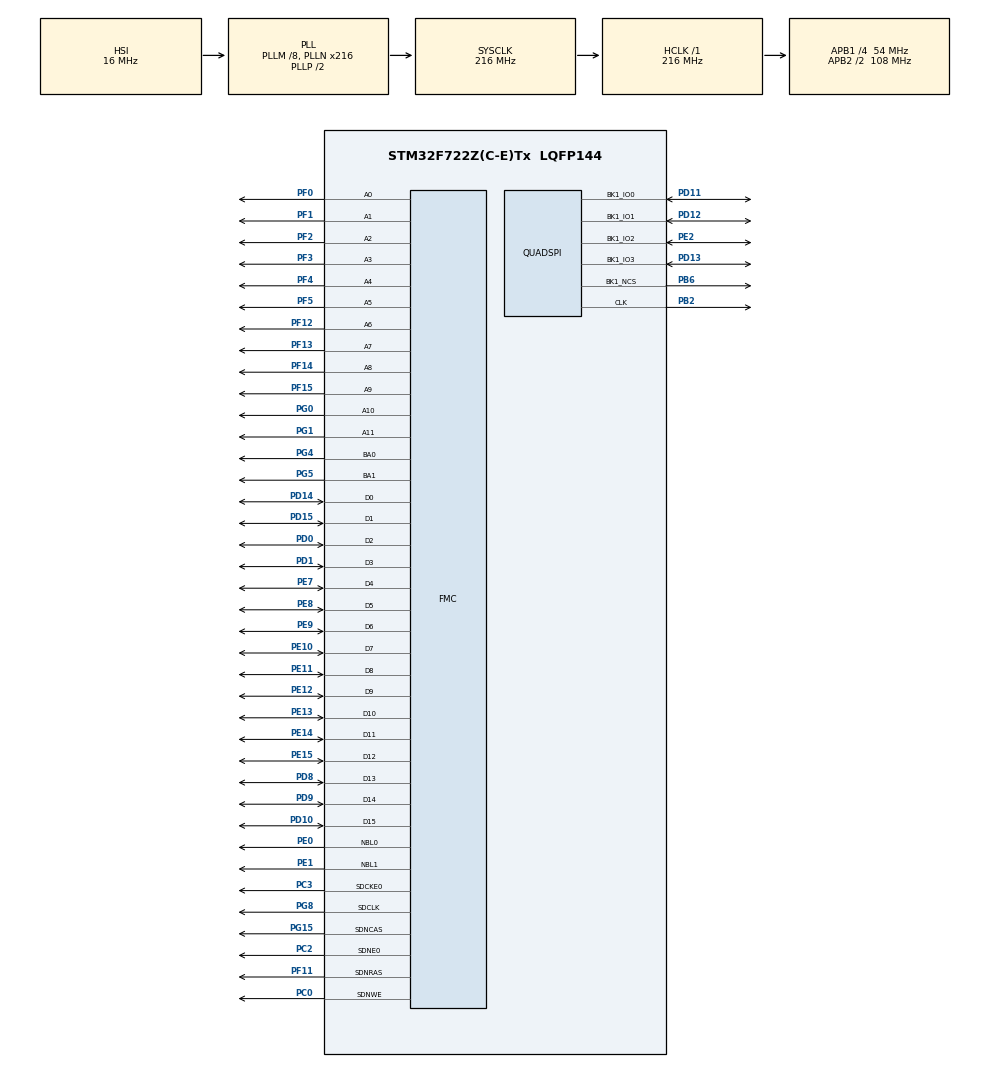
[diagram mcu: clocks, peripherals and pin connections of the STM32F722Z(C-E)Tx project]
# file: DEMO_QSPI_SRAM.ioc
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CORTEX_M7.ART_ACCLERATOR_ENABLE=0
CORTEX_M7.CPU_DCache=Disabled
CORTEX_M7.CPU_ICache=Disabled
CORTEX_M7.FlashInterface=AXI_Enabled
CORTEX_M7.MPU_Control=__NULL
CORTEX_M7.PREFETCH_ENABLE=0
FMC.CASLatency1=FMC_SDRAM_CAS_LATENCY_3
FMC.ExitSelfRefreshDelay1=9
FMC.InternalBankNumber1=FMC_SDRAM_INTERN_BANKS_NUM_4
FMC.LoadToActiveDelay1=2
FMC.RCDDelay1=2
FMC.RPDelay1=2
FMC.ReadPipeDelay1=FMC_SDRAM_RPIPE_DELAY_1
FMC.RowCycleDelay1=9
FMC.SDClockPeriod1=FMC_SDRAM_CLOCK_PERIOD_3
FMC.SDCoherentPinout1=MEMORY_PINOUT_OK
FMC.SDMemoryDataWidth1=FMC_SDRAM_MEM_BUS_WIDTH_16
FMC.SDRAM_Instance=FMC_SDRAM_DEVICE
FMC.SelfRefreshTime1=5
FMC.WriteRecoveryTime1=5
Mcu.Family=STM32F7
Mcu.Name=STM32F722Z(C-E)Tx
Mcu.Package=LQFP144
NVIC.PriorityGroup=NVIC_PRIORITYGROUP_4
NVIC.QUADSPI_IRQn=true\:15\:0\:true\:false\:true
PB2.Mode=Single Bank 1
PB2.Signal=QUADSPI_CLK
PB6.Mode=Single Bank 1
PB6.Signal=QUADSPI_BK1_NCS
PC0.Signal=FMC_SDNWE
PC2.Mode=SdramChipSelect1_1
PC2.Signal=FMC_SDNE0
PC3.Mode=SdramChipSelect1_1
PC3.Signal=FMC_SDCKE0
PD0.Signal=FMC_D2_DA2
PD1.Signal=FMC_D3_DA3
PD10.Signal=FMC_D15_DA15
PD11.Mode=Single Bank 1
PD11.Signal=QUADSPI_BK1_IO0
PD12.Mode=Single Bank 1
PD12.Signal=QUADSPI_BK1_IO1
PD13.Mode=Single Bank 1
PD13.Signal=QUADSPI_BK1_IO3
PD14.Signal=FMC_D0_DA0
PD15.Signal=FMC_D1_DA1
PD8.Signal=FMC_D13_DA13
PD9.Signal=FMC_D14_DA14
PE0.Signal=FMC_NBL0
PE1.Signal=FMC_NBL1
PE10.Signal=FMC_D7_DA7
PE11.Signal=FMC_D8_DA8
PE12.Signal=FMC_D9_DA9
PE13.Signal=FMC_D10_DA10
PE14.Signal=FMC_D11_DA11
PE15.Signal=FMC_D12_DA12
PE2.Mode=Single Bank 1
PE2.Signal=QUADSPI_BK1_IO2
PE7.Signal=FMC_D4_DA4
PE8.Signal=FMC_D5_DA5
PE9.Signal=FMC_D6_DA6
PF0.Signal=FMC_A0
PF1.Signal=FMC_A1
PF11.Signal=FMC_SDNRAS
PF12.Signal=FMC_A6
PF13.Signal=FMC_A7
PF14.Signal=FMC_A8
PF15.Signal=FMC_A9
PF2.Signal=FMC_A2
PF3.Signal=FMC_A3
PF4.Signal=FMC_A4
PF5.Signal=FMC_A5
PG0.Signal=FMC_A10
PG1.Signal=FMC_A11
PG15.Signal=FMC_SDNCAS
PG4.Signal=FMC_A14_BA0
PG5.Signal=FMC_A15_BA1
PG8.Signal=FMC_SDCLK
ProjectManager.HeapSize=0x200
ProjectManager.StackSize=0x400
ProjectManager.TargetToolchain=EWARM
QUADSPI.ChipSelectHighTime=QSPI_CS_HIGH_TIME_2_CYCLE
QUADSPI.ClockPrescaler=2
QUADSPI.FifoThreshold=4
QUADSPI.FlashSize=23
QUADSPI.SampleShifting=QSPI_SAMPLE_SHIFTING_HALFCYCLE
RCC.AHBCLKDivider=RCC_SYSCLK_DIV1
RCC.AHBFreq_Value=216000000
RCC.APB1CLKDivider=RCC_HCLK_DIV4
RCC.APB1Freq_Value=54000000
RCC.APB1TimFreq_Value=108000000
RCC.APB2CLKDivider=RCC_HCLK_DIV2
RCC.APB2Freq_Value=108000000
RCC.APB2TimFreq_Value=216000000
RCC.ClockTypeHCLK=RCC_CLOCKTYPE_HCLK
RCC.ClockTypePCLK1=RCC_CLOCKTYPE_PCLK1
RCC.ClockTypePCLK2=RCC_CLOCKTYPE_PCLK2
RCC.ClockTypeSysClk=RCC_CLOCKTYPE_SYSCLK
RCC.CortexFreq_Value=216000000
RCC.Cortex_Div=SYSTICK_CLKSOURCE_HCLK
RCC.EnableHSE=false
RCC.EnableHSERTCDevisor=false
RCC.EnableLSE=false
RCC.EnableLSERTC=false
RCC.EnbaleCSS=false
RCC.ExtClockEnable=false
RCC.FLatency=FLASH_LATENCY_7
RCC.HCLKFreq_Value=216000000
RCC.HSEState=RCC_HSE_OFF
RCC.HSE_VALUE=25000000
RCC.HSIState=RCC_HSI_ON
RCC.HSI_VALUE=16000000
RCC.I2C1Enable=false
RCC.I2C2Enable=false
RCC.I2C3Enable=false
RCC.I2SEnable=false
RCC.LPTIM1Enable=false
RCC.LSE_VALUE=32768
RCC.LSIState=RCC_LSI_OFF
RCC.MCO1OutPutEnable=false
RCC.MCO2I2SEnable=false
RCC.MCO2OutPutEnable=false
RCC.OscillatorTypeHSI=RCC_OSCILLATORTYPE_HSI
RCC.PLLM=8
RCC.PLLN=216
RCC.PLLP=RCC_PLLP_DIV2
RCC.PLLSAIP=RCC_PLLSAIP_DIV2
RCC.PLLState=RCC_PLL_ON
RCC.PWREXT_OverDrive=PWREXT_OverDrive_ACTIVATED
RCC.PWR_Regulator_Voltage_Scale=PWR_REGULATOR_VOLTAGE_SCALE1
RCC.RCC_MCODiv1=RCC_MCODIV_1
RCC.RCC_MCODiv2=RCC_MCODIV_1
RCC.RCC_RTC_Clock_Source_FROM_HSE=RCC_RTCCLKSOURCE_HSE_DIV2
RCC.RCC_TIM_PRescaler_Selection=RCC_TIMPRES_DESACTIVATED
RCC.RTCEnable=false
RCC.SAI1Enable=false
RCC.SAI2Enable=false
RCC.SDMMCEnable=false
RCC.SYSCLKFreq_VALUE=216000000
RCC.SYSCLKSource=RCC_SYSCLKSOURCE_PLLCLK
RCC.UART4Enable=false
RCC.UART5Enable=false
RCC.UART7Enable=false
RCC.UART8Enable=false
RCC.USART1Enable=false
RCC.USART2Enable=false
RCC.USART3Enable=false
RCC.USART6Enable=false
RCC.USBEnable=false
RCC.USBFreq_Value=216000000
RCC.VCOOutputFreq_Value=432000000
SH.FMC_A0.0=FMC_A0,12b-sda1
SH.FMC_A1.0=FMC_A1,12b-sda1
SH.FMC_A10.0=FMC_A10,12b-sda1
SH.FMC_A11.0=FMC_A11,12b-sda1
SH.FMC_A14_BA0.0=FMC_BA0,FourSdramBanks1
SH.FMC_A15_BA1.0=FMC_BA1,FourSdramBanks1
SH.FMC_A2.0=FMC_A2,12b-sda1
SH.FMC_A3.0=FMC_A3,12b-sda1
SH.FMC_A4.0=FMC_A4,12b-sda1
SH.FMC_A5.0=FMC_A5,12b-sda1
SH.FMC_A6.0=FMC_A6,12b-sda1
SH.FMC_A7.0=FMC_A7,12b-sda1
SH.FMC_A8.0=FMC_A8,12b-sda1
SH.FMC_A9.0=FMC_A9,12b-sda1
SH.FMC_D0_DA0.0=FMC_D0,sd-16b-d1
SH.FMC_D10_DA10.0=FMC_D10,sd-16b-d1
SH.FMC_D11_DA11.0=FMC_D11,sd-16b-d1
SH.FMC_D12_DA12.0=FMC_D12,sd-16b-d1
SH.FMC_D13_DA13.0=FMC_D13,sd-16b-d1
SH.FMC_D14_DA14.0=FMC_D14,sd-16b-d1
SH.FMC_D15_DA15.0=FMC_D15,sd-16b-d1
SH.FMC_D1_DA1.0=FMC_D1,sd-16b-d1
SH.FMC_D2_DA2.0=FMC_D2,sd-16b-d1
SH.FMC_D3_DA3.0=FMC_D3,sd-16b-d1
SH.FMC_D4_DA4.0=FMC_D4,sd-16b-d1
SH.FMC_D5_DA5.0=FMC_D5,sd-16b-d1
SH.FMC_D6_DA6.0=FMC_D6,sd-16b-d1
SH.FMC_D7_DA7.0=FMC_D7,sd-16b-d1
SH.FMC_D8_DA8.0=FMC_D8,sd-16b-d1
SH.FMC_D9_DA9.0=FMC_D9,sd-16b-d1
SH.FMC_NBL0.0=FMC_NBL0,Sd2ByteEnable1
SH.FMC_NBL1.0=FMC_NBL1,Sd2ByteEnable1
SH.FMC_SDCLK.0=FMC_SDCLK,12b-sda1
SH.FMC_SDNCAS.0=FMC_SDNCAS,12b-sda1
SH.FMC_SDNRAS.0=FMC_SDNRAS,12b-sda1
SH.FMC_SDNWE.0=FMC_SDNWE,12b-sda1
board=DEMO_QSPI_SRAM

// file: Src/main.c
/**
  ******************************************************************************
  * File Name          : main.c
  * Description        : Main program body
  ******************************************************************************
  *
  * COPYRIGHT(c) 2017 STMicroelectronics
  *
  * Redistribution and use in source and binary forms, with or without modification,
  * are permitted provided that the following conditions are met:
  *   1. Redistributions of source code must retain the above copyright notice,
  *      this list of conditions and the following disclaimer.
  *   2. Redistributions in binary form must reproduce the above copyright notice,
  *      this list of conditions and the following disclaimer in the documentation
  *      and/or other materials provided with the distribution.
  *   3. Neither the name of STMicroelectronics nor the names of its contributors
  *      may be used to endorse or promote products derived from this software
  *      without specific prior written permission.
  *
  * THIS SOFTWARE IS PROVIDED BY THE COPYRIGHT HOLDERS AND CONTRIBUTORS "AS IS"
  * AND ANY EXPRESS OR IMPLIED WARRANTIES, INCLUDING, BUT NOT LIMITED TO, THE
  * IMPLIED WARRANTIES OF MERCHANTABILITY AND FITNESS FOR A PARTICULAR PURPOSE ARE
  * DISCLAIMED. IN NO EVENT SHALL THE COPYRIGHT HOLDER OR CONTRIBUTORS BE LIABLE
  * FOR ANY DIRECT, INDIRECT, INCIDENTAL, SPECIAL, EXEMPLARY, OR CONSEQUENTIAL
  * DAMAGES (INCLUDING, BUT NOT LIMITED TO, PROCUREMENT OF SUBSTITUTE GOODS OR
  * SERVICES; LOSS OF USE, DATA, OR PROFITS; OR BUSINESS INTERRUPTION) HOWEVER
  * CAUSED AND ON ANY THEORY OF LIABILITY, WHETHER IN CONTRACT, STRICT LIABILITY,
  * OR TORT (INCLUDING NEGLIGENCE OR OTHERWISE) ARISING IN ANY WAY OUT OF THE USE
  * OF THIS SOFTWARE, EVEN IF ADVISED OF THE POSSIBILITY OF SUCH DAMAGE.
  *
  ******************************************************************************
  */
#include "main.h"
#include "stm32f7xx_hal.h"
#include "quadspi.h"
#include "gpio.h"
#include "fmc.h"

/* USER CODE BEGIN Includes */
#define USE_QSPI
#ifdef USE_QSPI
#include "n25q128a.h"
#endif /* USE_QSPI */

#define USE_SDRAM
#ifdef USE_SDRAM
#include "is42s16400j.h"
//#define USE_DMA_SDRAM
#endif /* USE_SDRAM */
/* USER CODE END Includes */

/* USER CODE BEGIN PV */
/* Private variables ---------------------------------------------------------*/
#ifdef USE_QSPI
__IO uint8_t CmdCplt, RxCplt, TxCplt, StatusMatch, TimeOut;
/* Buffer used for transmission */
uint8_t aTxBuffer_Qspi[] = " ****QSPI communication based on IT****  ****QSPI communication based on IT****  ****QSPI communication based on IT****  ****QSPI communication based on IT****  ****QSPI communication based on IT****  ****QSPI communication based on IT**** ";
/* Buffer used for reception */
uint8_t aRxBuffer_Qspi[BUFFERSIZE];
#endif /* USE_QSPI */

#ifdef USE_SDRAM
#define BUFFER_SIZE         ((uint32_t)0x0100)
#define WRITE_READ_ADDR     ((uint32_t)0x0800)

FMC_SDRAM_CommandTypeDef command;

/* Read/Write Buffers */
uint32_t aTxBuffer_Sdram[BUFFER_SIZE];
uint32_t aRxBuffer_Sdram[BUFFER_SIZE];

/* Status variables */
__IO uint32_t uwWriteReadStatus = 0;
uint32_t uwIndex = 0;
#endif /* USE_SDRAM */
/* USER CODE END PV */

void SystemClock_Config(void);
void Error_Handler(void);

/* USER CODE BEGIN PFP */
/* Private function prototypes -----------------------------------------------*/

/* USER CODE END PFP */

int main(void)
{

  /* USER CODE BEGIN 1 */
#ifdef USE_QSPI
  QSPI_CommandTypeDef sCommand;
  uint32_t address = 0;
  uint16_t index;
  __IO uint8_t step = 0;
#endif /* USE_QSPI */

   /* Enable I-Cache */
  SCB_EnableICache();

  /* Enable D-Cache */
  SCB_EnableDCache();
  /* USER CODE END 1 */

  /* MCU Configuration----------------------------------------------------------*/

  /* Reset of all peripherals, Initializes the Flash interface and the Systick. */
  HAL_Init();

  /* Configure the system clock */
  SystemClock_Config();

  /* Initialize all configured peripherals */
  MX_GPIO_Init();
  MX_FMC_Init();
  MX_QUADSPI_Init();

  /* USER CODE BEGIN 2 */
#ifdef USE_QSPI
  sCommand.InstructionMode   = QSPI_INSTRUCTION_1_LINE;
  sCommand.AddressSize       = QSPI_ADDRESS_24_BITS;
  sCommand.AlternateByteMode = QSPI_ALTERNATE_BYTES_NONE;
  sCommand.DdrMode           = QSPI_DDR_MODE_DISABLE;
  sCommand.DdrHoldHalfCycle  = QSPI_DDR_HHC_ANALOG_DELAY;
  sCommand.SIOOMode          = QSPI_SIOO_INST_EVERY_CMD;
#endif /* USE_QSPI */
#ifdef USE_SDRAM
  /*##-1- Configure the SDRAM device #########################################*/
 /* Program the SDRAM external device */
  SDRAM_Initialization_Sequence(&hsdram1, &command);
/*##-2- SDRAM memory read/write access #####################################*/

  /* Fill the buffer to write */
  Fill_Buffer(aTxBuffer_Sdram, BUFFER_SIZE, 0xA244250F);

  /* Write data to the SDRAM memory */
  for (uwIndex = 0; uwIndex < BUFFER_SIZE; uwIndex++)
  {
    *(__IO uint32_t*) (SDRAM_DEVICE_ADDR + WRITE_READ_ADDR + 4*uwIndex) = aTxBuffer_Sdram[uwIndex];
  }

  /* Read back data from the SDRAM memory */
  for (uwIndex = 0; uwIndex < BUFFER_SIZE; uwIndex++)
  {
    aRxBuffer_Sdram[uwIndex] = *(__IO uint32_t*) (SDRAM_DEVICE_ADDR + WRITE_READ_ADDR + 4*uwIndex);
   }

  /*##-3- Checking data integrity ############################################*/

  for (uwIndex = 0; (uwIndex < BUFFER_SIZE) && (uwWriteReadStatus == 0); uwIndex++)
  {
    if (aRxBuffer_Sdram[uwIndex] != aTxBuffer_Sdram[uwIndex])
    {
      uwWriteReadStatus++;
    }
  }

  if (uwWriteReadStatus)
  {
    /* KO */
    printf("Failed for SDRAM");
  }
  else
  {
    /* OK */
    printf("Success for SDRAM");

  }

#endif /* USE_SDRAM */
  /* USER CODE END 2 */

  /* Infinite loop */
  /* USER CODE BEGIN WHILE */
  while (1)
  {
#ifdef USE_QSPI
switch(step)
    {
      case 0:
        CmdCplt = 0;

        /* Initialize Reception buffer --------------------------------------- */
        for (index = 0; index < BUFFERSIZE; index++)
        {
          aRxBuffer_Qspi[index] = 0;
        }

        /* Enable write operations ------------------------------------------- */
        QSPI_WriteEnable(&hqspi);

        /* Erasing Sequence -------------------------------------------------- */
        sCommand.Instruction = SECTOR_ERASE_CMD;
        sCommand.AddressMode = QSPI_ADDRESS_1_LINE;
        sCommand.Address     = address;
        sCommand.DataMode    = QSPI_DATA_NONE;
        sCommand.DummyCycles = 0;

        if (HAL_QSPI_Command_IT(&hqspi, &sCommand) != HAL_OK)
        {
          Error_Handler();
        }

        step++;
        break;

      case 1:
        if(CmdCplt != 0)
        {
          CmdCplt = 0;
          StatusMatch = 0;

          /* Configure automatic polling mode to wait for end of erase ------- */
          QSPI_AutoPollingMemReady(&hqspi);

          step++;
        }
        break;

      case 2:
        if(StatusMatch != 0)
        {
          StatusMatch = 0;
          TxCplt = 0;

          /* Enable write operations ----------------------------------------- */
          QSPI_WriteEnable(&hqspi);

          /* Writing Sequence ------------------------------------------------ */
          sCommand.Instruction = QUAD_IN_FAST_PROG_CMD;
          sCommand.AddressMode = QSPI_ADDRESS_1_LINE;
          sCommand.DataMode    = QSPI_DATA_4_LINES;
          sCommand.NbData      = BUFFERSIZE;

          if (HAL_QSPI_Command(&hqspi, &sCommand, HAL_QPSI_TIMEOUT_DEFAULT_VALUE) != HAL_OK)
          {
            Error_Handler();
          }

          if (HAL_QSPI_Transmit_IT(&hqspi, aTxBuffer_Qspi) != HAL_OK)
          {
            Error_Handler();
          }

          step++;
        }
        break;

      case 3:
        if(TxCplt != 0)
        {
          TxCplt = 0;
          StatusMatch = 0;

          /* Configure automatic polling mode to wait for end of program ----- */
          QSPI_AutoPollingMemReady(&hqspi);

          step++;
        }
        break;

      case 4:
        if(StatusMatch != 0)
        {
          StatusMatch = 0;
          RxCplt = 0;

          /* Configure Volatile Configuration register (with new dummy cycles) */
          QSPI_DummyCyclesCfg(&hqspi);

          /* Reading Sequence ------------------------------------------------ */
          sCommand.Instruction = QUAD_OUT_FAST_READ_CMD;
          sCommand.DummyCycles = DUMMY_CLOCK_CYCLES_READ_QUAD;

          if (HAL_QSPI_Command(&hqspi, &sCommand, HAL_QPSI_TIMEOUT_DEFAULT_VALUE) != HAL_OK)
          {
            Error_Handler();
          }

          if (HAL_QSPI_Receive_IT(&hqspi, aRxBuffer_Qspi) != HAL_OK)
          {
            Error_Handler();
          }
          step++;
        }
        break;

      case 5:
        if (RxCplt != 0)
        {
          RxCplt = 0;

          /* Result comparison ----------------------------------------------- */
          for (index = 0; index < BUFFERSIZE; index++)
          {
            if (aRxBuffer_Qspi[index] != aTxBuffer_Qspi[index])
            {
              printf("Failed for QSPI");
            }
          }
          printf("Success for QSPI");

          address += N25Q128A_PAGE_SIZE;
          if(address >= N25Q128A_END_ADDR)
          {
            address = 0;
          }
          step = 0;
        }
        break;

      default :
        Error_Handler();
    }
#endif /* USE_QSPI */
  /* USER CODE END WHILE */

  }

}

/** System Clock Configuration
*/
void SystemClock_Config(void)
{

  RCC_OscInitTypeDef RCC_OscInitStruct;
  RCC_ClkInitTypeDef RCC_ClkInitStruct;

    /**Configure the main internal regulator output voltage
    */
  __HAL_RCC_PWR_CLK_ENABLE();

  __HAL_PWR_VOLTAGESCALING_CONFIG(PWR_REGULATOR_VOLTAGE_SCALE1);

    /**Initializes the CPU, AHB and APB busses clocks
    */
  RCC_OscInitStruct.OscillatorType = RCC_OSCILLATORTYPE_HSI;
  RCC_OscInitStruct.HSIState = RCC_HSI_ON;
  RCC_OscInitStruct.HSICalibrationValue = 16;
  RCC_OscInitStruct.PLL.PLLState = RCC_PLL_ON;
  RCC_OscInitStruct.PLL.PLLSource = RCC_PLLSOURCE_HSI;
  RCC_OscInitStruct.PLL.PLLM = 8;
  RCC_OscInitStruct.PLL.PLLN = 216;
  RCC_OscInitStruct.PLL.PLLP = RCC_PLLP_DIV2;
  RCC_OscInitStruct.PLL.PLLQ = 2;
  if (HAL_RCC_OscConfig(&RCC_OscInitStruct) != HAL_OK)
  {
    Error_Handler();
  }

    /**Activate the Over-Drive mode
    */
  if (HAL_PWREx_EnableOverDrive() != HAL_OK)
  {
    Error_Handler();
  }

    /**Initializes the CPU, AHB and APB busses clocks
    */
  RCC_ClkInitStruct.ClockType = RCC_CLOCKTYPE_HCLK|RCC_CLOCKTYPE_SYSCLK
                              |RCC_CLOCKTYPE_PCLK1|RCC_CLOCKTYPE_PCLK2;
  RCC_ClkInitStruct.SYSCLKSource = RCC_SYSCLKSOURCE_PLLCLK;
  RCC_ClkInitStruct.AHBCLKDivider = RCC_SYSCLK_DIV1;
  RCC_ClkInitStruct.APB1CLKDivider = RCC_HCLK_DIV4;
  RCC_ClkInitStruct.APB2CLKDivider = RCC_HCLK_DIV2;

  if (HAL_RCC_ClockConfig(&RCC_ClkInitStruct, FLASH_LATENCY_7) != HAL_OK)
  {
    Error_Handler();
  }

    /**Configure the Systick interrupt time
    */
  HAL_SYSTICK_Config(HAL_RCC_GetHCLKFreq()/1000);

    /**Configure the Systick
    */
  HAL_SYSTICK_CLKSourceConfig(SYSTICK_CLKSOURCE_HCLK);

  /* SysTick_IRQn interrupt configuration */
  HAL_NVIC_SetPriority(SysTick_IRQn, 0, 0);
}

/* USER CODE BEGIN 4 */
#ifdef USE_QSPI
/**
  * @brief  Command completed callbacks.
  * @param  hqspi: QSPI handle
  * @retval None
  */
void HAL_QSPI_CmdCpltCallback(QSPI_HandleTypeDef *hqspi)
{
  CmdCplt++;
}

/**
  * @brief  Rx Transfer completed callbacks.
  * @param  hqspi: QSPI handle
  * @retval None
  */
void HAL_QSPI_RxCpltCallback(QSPI_HandleTypeDef *hqspi)
{
  RxCplt++;
}

/**
  * @brief  Tx Transfer completed callbacks.
  * @param  hqspi: QSPI handle
  * @retval None
  */
void HAL_QSPI_TxCpltCallback(QSPI_HandleTypeDef *hqspi)
{
  TxCplt++;
}

/**
  * @brief  Status Match callbacks
  * @param  hqspi: QSPI handle
  * @retval None
  */
void HAL_QSPI_StatusMatchCallback(QSPI_HandleTypeDef *hqspi)
{
  StatusMatch++;
}
#endif /* USE_QSPI */

/* USER CODE END 4 */

void Error_Handler(void)
{
  /* USER CODE BEGIN Error_Handler */
  /* User can add his own implementation to report the HAL error return state */
  while(1)
  {
    printf("Error");
  }
  /* USER CODE END Error_Handler */
}

/************************ (C) COPYRIGHT STMicroelectronics *****END OF FILE****/
